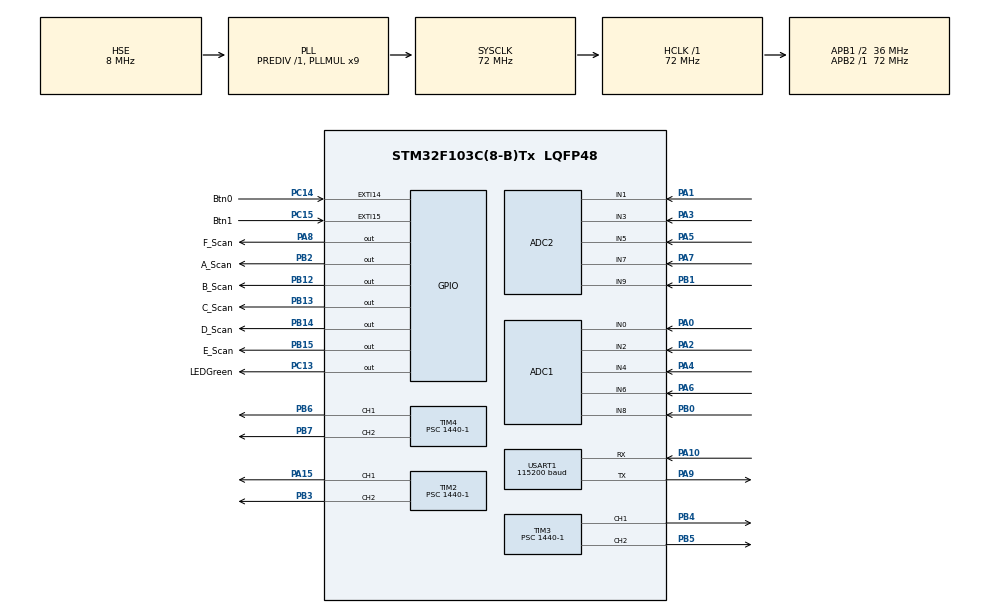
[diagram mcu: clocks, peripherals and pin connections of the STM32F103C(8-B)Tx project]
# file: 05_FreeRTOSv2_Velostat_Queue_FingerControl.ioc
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Mcu.Family=STM32F1
Dma.USART1_TX.2.Direction=DMA_MEMORY_TO_PERIPH
FREERTOS.Queues01=velostatQueue,3,uint16_t*,0,Dynamic,NULL,NULL;handQueue,3,uint16_t*,0,Dynamic,NULL,NULL
Dma.MEMTOMEM.3.Instance=DMA1_Channel3
NVIC.DMA1_Channel5_IRQn=true\:5\:0\:false\:false\:true\:true\:false\:true
ADC2.SamplingTime-1\#ChannelRegularConversion=ADC_SAMPLETIME_239CYCLES_5
ADC2.Channel-0\#ChannelRegularConversion=ADC_CHANNEL_1
USART1.BaudRate=115200
SH.ADCx_IN2.0=ADC1_IN2,IN2
PB14.GPIO_Label=D_Scan
FREERTOS.Events01=handEvent,Dynamic,NULL;velostatEvent,Dynamic,NULL;stopServoEvent,Dynamic,NULL
Dma.MEMTOMEM.1.PeriphInc=DMA_PINC_ENABLE
FREERTOS.configTICK_RATE_HZ=1000
NVIC.TIM1_UP_IRQn=true\:0\:0\:false\:false\:true\:false\:false\:true
ADC2.SamplingTime-4\#ChannelRegularConversion=ADC_SAMPLETIME_239CYCLES_5
TIM2.Channel-PWM\ Generation2\ CH2=TIM_CHANNEL_2
PB13.GPIO_Label=C_Scan
PB13.Signal=GPIO_Output
PB15.Signal=GPIO_Output
Dma.MEMTOMEM.1.Priority=DMA_PRIORITY_LOW
PC15-OSC32_OUT.GPIO_Label=Btn1
RCC.SYSCLKSource=RCC_SYSCLKSOURCE_PLLCLK
ProjectManager.StackSize=0x400
VP_FREERTOS_VS_CMSIS_V2.Mode=CMSIS_V2
PD1-OSC_OUT.Signal=RCC_OSC_OUT
NVIC.DMA1_Channel3_IRQn=true\:5\:0\:false\:false\:true\:true\:true\:true
Mcu.UserConstants=FlagVelostatADC_ConvCplt,(1u << 0);FlagVelostatDMAChn2_XferCplt,(1u << 1);FlagVelostatUART_TxCplt,(1u << 2);FlagVelostatSortDataNotFull,(1u << 3);FlagVelostatSortDataFull,(1u << 4);NumberOfColums,10u;NumberOfRows,44u;NumberOfConversion,5u;NumberOfADCChannels,10u;NumberOfCells,(NumberOfColums * NumberOfRows);TxBufferSize,(NumberOfCells + 2u);NumberOfScanLimit,44u;FlagHandUART_RxCplt,(1u << 0);FlagHandBot1,(1u << 1);FlagHandTop1,(1u << 2);FlagHandBot2,(1u << 3);FlagHandTop2,(1u << 4);FlagHandBot3,(1u << 5);FlagHandTop3,(1u << 6);FlagVelostatEnqueue,(1u << 6);FlagVelostatDMAChn3_XferCplt,(1u << 5);FlagVelostatEnable,(1u << 7);FlagHandPeakControlEnable,(1u << 7);FlagHandDMAChn6_XferCplt,(1u << 8);FlagHandMatrix,(1u << 9)
ADC1.Channel-3\#ChannelRegularConversion=ADC_CHANNEL_6
ADC1.Mode=ADC_DUALMODE_REGSIMULT
RCC.HCLKFreq_Value=72000000
SH.ADCx_IN3.0=ADC2_IN3,IN3
Dma.USART1_RX.4.MemDataAlignment=DMA_MDATAALIGN_BYTE
RCC.APB2TimFreq_Value=72000000
TIM3.Period=1000-1
PB6.Signal=S_TIM4_CH1
Dma.ADC1.0.Direction=DMA_PERIPH_TO_MEMORY
ADC1.Channel-2\#ChannelRegularConversion=ADC_CHANNEL_4
FREERTOS.configUSE_MALLOC_FAILED_HOOK=1
FREERTOS.configMINIMAL_STACK_SIZE=64
Dma.ADC1.0.MemDataAlignment=DMA_MDATAALIGN_WORD
RCC.AHBFreq_Value=72000000
TIM3.Channel-PWM\ Generation1\ CH1=TIM_CHANNEL_1
NVIC.EXTI15_10_IRQn=true\:5\:0\:false\:false\:true\:true\:true\:true
ADC1.Channel-0\#ChannelRegularConversion=ADC_CHANNEL_0
PB2.Signal=GPIO_Output
RCC.PLLMUL=RCC_PLL_MUL9
Dma.MEMTOMEM.3.Mode=DMA_NORMAL
PB12.GPIO_Label=B_Scan
ADC1.SamplingTime-4\#ChannelRegularConversion=ADC_SAMPLETIME_239CYCLES_5
Dma.USART1_RX.4.Instance=DMA1_Channel5
PC15-OSC32_OUT.GPIO_ModeDefaultEXTI=GPIO_MODE_IT_FALLING
ADC1.Rank-2\#ChannelRegularConversion=3
PA14.Mode=Serial_Wire
VP_SYS_VS_tim1.Mode=TIM1
TIM3.Prescaler=1440-1
Dma.ADC1.0.PeriphInc=DMA_PINC_DISABLE
SH.ADCx_IN8.0=ADC1_IN8,IN8
SH.S_TIM4_CH2.0=TIM4_CH2,PWM Generation2 CH2
Dma.USART1_TX.2.PeriphDataAlignment=DMA_PDATAALIGN_BYTE
PB7.Signal=S_TIM4_CH2
PA8.Signal=GPIO_Output
SH.ADCx_IN0.0=ADC1_IN0,IN0
TIM2.Channel-PWM\ Generation1\ CH1=TIM_CHANNEL_1
SH.S_TIM3_CH1.0=TIM3_CH1,PWM Generation1 CH1
TIM4.Period=1000-1
Dma.USART1_TX.2.MemDataAlignment=DMA_MDATAALIGN_BYTE
ADC1.SamplingTime-0\#ChannelRegularConversion=ADC_SAMPLETIME_239CYCLES_5
FREERTOS.configTOTAL_HEAP_SIZE=14000
Dma.MEMTOMEM.1.MemInc=DMA_MINC_ENABLE
Mcu.Package=LQFP48
TIM2.Prescaler=1440-1
PB1.Signal=ADCx_IN9
PA6.Signal=ADCx_IN6
Dma.MEMTOMEM.1.Instance=DMA1_Channel2
NVIC.TimeBase=TIM1_UP_IRQn
Dma.USART1_RX.4.Direction=DMA_PERIPH_TO_MEMORY
Dma.MEMTOMEM.3.Direction=DMA_MEMORY_TO_MEMORY
ADC2.Channel-1\#ChannelRegularConversion=ADC_CHANNEL_3
NVIC.TimeBaseIP=TIM1
PA10.Signal=USART1_RX
PA15.Signal=S_TIM2_CH1_ETR
ADC2.Rank-4\#ChannelRegularConversion=5
ADC2.SamplingTime-0\#ChannelRegularConversion=ADC_SAMPLETIME_239CYCLES_5
SH.ADCx_IN9.0=ADC2_IN9,IN9
SH.ADCx_IN1.0=ADC2_IN1,IN1
ADC2.SamplingTime-2\#ChannelRegularConversion=ADC_SAMPLETIME_239CYCLES_5
ADC2.NbrOfConversion=5
SH.S_TIM4_CH1.0=TIM4_CH1,PWM Generation1 CH1
Dma.Request2=USART1_TX
Dma.Request1=MEMTOMEM
RCC.APB1TimFreq_Value=72000000
Dma.Request4=USART1_RX
Dma.Request3=MEMTOMEM
ADC2.Rank-2\#ChannelRegularConversion=3
PC14-OSC32_IN.GPIO_Label=Btn0
NVIC.DMA1_Channel4_IRQn=true\:5\:0\:false\:false\:true\:true\:false\:true
ADC2.Rank-0\#ChannelRegularConversion=1
FREERTOS.configMAX_TASK_NAME_LEN=32
NVIC.USART1_IRQn=true\:5\:0\:true\:false\:true\:true\:true\:true
Dma.Request0=ADC1
VP_TIM3_VS_ClockSourceINT.Mode=Internal
ADC1.Rank-4\#ChannelRegularConversion=5
ADC2.Channel-3\#ChannelRegularConversion=ADC_CHANNEL_7
PB4.Signal=S_TIM3_CH1
PA3.Signal=ADCx_IN3
RCC.PLLSourceVirtual=RCC_PLLSOURCE_HSE
TIM4.Channel-PWM\ Generation1\ CH1=TIM_CHANNEL_1
Dma.ADC1.0.Instance=DMA1_Channel1
ADC2.Mode=ADC_DUALMODE_REGSIMULT
FREERTOS.Tasks01=VelostatScanADC,8,128,StartVelostatScanADC,Default,NULL,Dynamic,NULL,NULL;VelostatProcessOutput,8,128,StartVelostatProcessOutput,Default,NULL,Dynamic,NULL,NULL;VelostatTransmit,8,128,StartVelostatTransmit,Default,NULL,Dynamic,NULL,NULL;HandBot1,8,64,StartHandBot1,Default,NULL,Dynamic,NULL,NULL;HandTop1,8,64,StartHandTop1,Default,NULL,Dynamic,NULL,NULL;HandBot2,8,64,StartHandBot2,Default,NULL,Dynamic,NULL,NULL;HandTop2,8,64,StartHandTop2,Default,NULL,Dynamic,NULL,NULL;HandBot3,8,64,StartHandBot3,Default,NULL,Dynamic,NULL,NULL;HandTop3,8,64,StartHandTop3,Default,NULL,Dynamic,NULL,NULL;HandRxHandler,40,128,StartHandRxHandler,Default,NULL,Dynamic,NULL,NULL;HandMatrixHandler,8,128,StartHandMatrixHandler,Default,NULL,Dynamic,NULL,NULL;HandPeakControl,8,128,StartHandPeakControl,Default,NULL,Dynamic,NULL,NULL;ButtonHandler,48,64,StartButtonHandler,Default,NULL,Dynamic,NULL,NULL;HandStopServo,40,64,StartHandStopServo,Default,NULL,Dynamic,NULL,NULL
ADC1.Rank-0\#ChannelRegularConversion=1
PD1-OSC_OUT.Mode=HSE-External-Oscillator
ADC1.Channel-4\#ChannelRegularConversion=ADC_CHANNEL_8
PA10.Mode=Asynchronous
Dma.USART1_TX.2.MemInc=DMA_MINC_ENABLE
TIM3.AutoReloadPreload=TIM_AUTORELOAD_PRELOAD_ENABLE
SH.ADCx_IN6.0=ADC1_IN6,IN6
ADC2.Rank-3\#ChannelRegularConversion=4
PC13-TAMPER-RTC.Signal=GPIO_Output
RCC.USBPrescaler=RCC_USBCLKSOURCE_PLL_DIV1_5
Dma.USART1_RX.4.Priority=DMA_PRIORITY_VERY_HIGH
PD0-OSC_IN.Signal=RCC_OSC_IN
Dma.USART1_RX.4.Mode=DMA_NORMAL
RCC.APB1CLKDivider=RCC_HCLK_DIV2
PC14-OSC32_IN.Signal=GPXTI14
ADC1.SamplingTime-2\#ChannelRegularConversion=ADC_SAMPLETIME_239CYCLES_5
PA0-WKUP.Signal=ADCx_IN0
RCC.ADCPresc=RCC_ADCPCLK2_DIV6
PA13.Signal=SYS_JTMS-SWDIO
SH.S_TIM2_CH2.0=TIM2_CH2,PWM Generation2 CH2
Dma.ADC1.0.PeriphDataAlignment=DMA_PDATAALIGN_WORD
PA9.Mode=Asynchronous
PA8.GPIO_Label=F_Scan
NVIC.DMA1_Channel2_IRQn=true\:5\:0\:false\:false\:true\:true\:true\:true
ProjectManager.TargetToolchain=STM32CubeIDE
SH.ADCx_IN7.0=ADC2_IN7,IN7
Dma.ADC1.0.Mode=DMA_NORMAL
Dma.ADC1.0.Priority=DMA_PRIORITY_LOW
PA9.Signal=USART1_TX
ADC1.Channel-1\#ChannelRegularConversion=ADC_CHANNEL_2
RCC.USBFreq_Value=48000000
TIM4.Prescaler=1440-1
PC15-OSC32_OUT.Signal=GPXTI15
PA1.Signal=ADCx_IN1
PD0-OSC_IN.Mode=HSE-External-Oscillator
PB14.Signal=GPIO_Output
PA5.Signal=ADCx_IN5
Dma.MEMTOMEM.1.Mode=DMA_NORMAL
SH.S_TIM3_CH2.0=TIM3_CH2,PWM Generation2 CH2
Dma.MEMTOMEM.3.PeriphDataAlignment=DMA_PDATAALIGN_HALFWORD
board=custom
PC13-TAMPER-RTC.GPIO_Label=LEDGreen
Dma.MEMTOMEM.1.MemDataAlignment=DMA_MDATAALIGN_HALFWORD
ADC2.Channel-2\#ChannelRegularConversion=ADC_CHANNEL_5
PC14-OSC32_IN.GPIO_ModeDefaultEXTI=GPIO_MODE_IT_FALLING
TIM4.Channel-PWM\ Generation2\ CH2=TIM_CHANNEL_2
RCC.APB2Freq_Value=72000000
Dma.MEMTOMEM.1.PeriphDataAlignment=DMA_PDATAALIGN_HALFWORD
PB15.GPIO_Label=E_Scan
VP_TIM2_VS_ClockSourceINT.Mode=Internal
Dma.MEMTOMEM.3.Priority=DMA_PRIORITY_MEDIUM
Dma.USART1_RX.4.PeriphDataAlignment=DMA_PDATAALIGN_BYTE
Dma.USART1_TX.2.Priority=DMA_PRIORITY_HIGH
SH.ADCx_IN4.0=ADC1_IN4,IN4
Dma.MEMTOMEM.1.Direction=DMA_MEMORY_TO_MEMORY
PC15-OSC32_OUT.GPIO_PuPd=GPIO_NOPULL
ADC2.SamplingTime-3\#ChannelRegularConversion=ADC_SAMPLETIME_239CYCLES_5
Dma.MEMTOMEM.3.MemDataAlignment=DMA_MDATAALIGN_HALFWORD
TIM2.Period=1000-1
ADC1.NbrOfConversion=5
PA13.Mode=Serial_Wire
Mcu.Name=STM32F103C(8-B)Tx
PA2.Signal=ADCx_IN2
Dma.USART1_TX.2.PeriphInc=DMA_PINC_DISABLE
Dma.MEMTOMEM.3.MemInc=DMA_MINC_ENABLE
PB3.Signal=S_TIM2_CH2
PA4.Signal=ADCx_IN4
ADC1.SamplingTime-1\#ChannelRegularConversion=ADC_SAMPLETIME_239CYCLES_5
RCC.SYSCLKFreq_VALUE=72000000
PB5.Signal=S_TIM3_CH2
ADC1.master=1
ADC1.Rank-3\#ChannelRegularConversion=4
ADC1.SamplingTime-3\#ChannelRegularConversion=ADC_SAMPLETIME_239CYCLES_5
ADC2.NbrOfConversionFlag=1
USART1.VirtualMode=VM_ASYNC
ADC1.Rank-1\#ChannelRegularConversion=2
SH.S_TIM2_CH1_ETR.0=TIM2_CH1,PWM Generation1 CH1
PA14.Signal=SYS_JTCK-SWCLK
Dma.ADC1.0.MemInc=DMA_MINC_ENABLE
Dma.USART1_RX.4.MemInc=DMA_MINC_ENABLE
PB2.GPIO_Label=A_Scan
ProjectManager.HeapSize=0x200
Dma.USART1_TX.2.Mode=DMA_NORMAL
FREERTOS.Timers01=myTimer01,Callback01,osTimerOnce,Default,NULL,Dynamic,NULL
SH.ADCx_IN5.0=ADC2_IN5,IN5
VP_TIM4_VS_ClockSourceINT.Mode=Internal
NVIC.PriorityGroup=NVIC_PRIORITYGROUP_4
ADC1.NbrOfConversionFlag=1
TIM3.Channel-PWM\ Generation2\ CH2=TIM_CHANNEL_2
Dma.USART1_TX.2.Instance=DMA1_Channel4
ADC2.Rank-1\#ChannelRegularConversion=2
TIM2.AutoReloadPreload=TIM_AUTORELOAD_PRELOAD_ENABLE
Dma.MEMTOMEM.3.PeriphInc=DMA_PINC_ENABLE
PC14-OSC32_IN.GPIO_PuPd=GPIO_NOPULL
Dma.USART1_RX.4.PeriphInc=DMA_PINC_DISABLE
NVIC.DMA1_Channel1_IRQn=true\:5\:0\:false\:false\:true\:true\:false\:true
RCC.APB1Freq_Value=36000000
PB0.Signal=ADCx_IN8
ADC2.Channel-4\#ChannelRegularConversion=ADC_CHANNEL_9
PB12.Signal=GPIO_Output
PA7.Signal=ADCx_IN7

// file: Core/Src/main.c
/* USER CODE BEGIN Header */
/**
 ******************************************************************************
 * @file           : main.c
 * @brief          : Main program body
 ******************************************************************************
 * @attention
 *
 * <h2><center>&copy; Copyright (c) 2022 STMicroelectronics.
 * All rights reserved.</center></h2>
 *
 * This software component is licensed by ST under Ultimate Liberty license
 * SLA0044, the "License"; You may not use this file except in compliance with
 * the License. You may obtain a copy of the License at:
 *                             www.st.com/SLA0044
 *
 ******************************************************************************
 */
/* USER CODE END Header */
#include "main.h"
#include "cmsis_os.h"

/* USER CODE BEGIN Includes */
//#include "usbd_cdc_if.h"
#include <string.h>
#include "Scan_74238.h"
#include "Servo.h"
#include "MyArray.h"
/* USER CODE END Includes */

ADC_HandleTypeDef hadc1;
ADC_HandleTypeDef hadc2;
DMA_HandleTypeDef hdma_adc1;

TIM_HandleTypeDef htim2;
TIM_HandleTypeDef htim3;
TIM_HandleTypeDef htim4;

UART_HandleTypeDef huart1;
DMA_HandleTypeDef hdma_usart1_tx;
DMA_HandleTypeDef hdma_usart1_rx;

DMA_HandleTypeDef hdma_memtomem_dma1_channel2;
DMA_HandleTypeDef hdma_memtomem_dma1_channel3;
/* Definitions for VelostatScanADC */
osThreadId_t VelostatScanADCHandle;
const osThreadAttr_t VelostatScanADC_attributes = { .name = "VelostatScanADC",
		.stack_size = 128 * 4, .priority = (osPriority_t) osPriorityLow, };
/* Definitions for VelostatProcessOutput */
osThreadId_t VelostatProcessOutputHandle;
const osThreadAttr_t VelostatProcessOutput_attributes = { .name =
		"VelostatProcessOutput", .stack_size = 128 * 4, .priority =
		(osPriority_t) osPriorityLow, };
/* Definitions for VelostatTransmit */
osThreadId_t VelostatTransmitHandle;
const osThreadAttr_t VelostatTransmit_attributes = { .name = "VelostatTransmit",
		.stack_size = 128 * 4, .priority = (osPriority_t) osPriorityLow, };
/* Definitions for HandBot1 */
osThreadId_t HandBot1Handle;
const osThreadAttr_t HandBot1_attributes = { .name = "HandBot1", .stack_size =
		64 * 4, .priority = (osPriority_t) osPriorityLow, };
/* Definitions for HandTop1 */
osThreadId_t HandTop1Handle;
const osThreadAttr_t HandTop1_attributes = { .name = "HandTop1", .stack_size =
		64 * 4, .priority = (osPriority_t) osPriorityLow, };
/* Definitions for HandBot2 */
osThreadId_t HandBot2Handle;
const osThreadAttr_t HandBot2_attributes = { .name = "HandBot2", .stack_size =
		64 * 4, .priority = (osPriority_t) osPriorityLow, };
/* Definitions for HandTop2 */
osThreadId_t HandTop2Handle;
const osThreadAttr_t HandTop2_attributes = { .name = "HandTop2", .stack_size =
		64 * 4, .priority = (osPriority_t) osPriorityLow, };
/* Definitions for HandBot3 */
osThreadId_t HandBot3Handle;
const osThreadAttr_t HandBot3_attributes = { .name = "HandBot3", .stack_size =
		64 * 4, .priority = (osPriority_t) osPriorityLow, };
/* Definitions for HandTop3 */
osThreadId_t HandTop3Handle;
const osThreadAttr_t HandTop3_attributes = { .name = "HandTop3", .stack_size =
		64 * 4, .priority = (osPriority_t) osPriorityLow, };
/* Definitions for HandRxHandler */
osThreadId_t HandRxHandlerHandle;
const osThreadAttr_t HandRxHandler_attributes = { .name = "HandRxHandler",
		.stack_size = 128 * 4, .priority = (osPriority_t) osPriorityHigh, };
/* Definitions for HandMatrixHandler */
osThreadId_t HandMatrixHandlerHandle;
const osThreadAttr_t HandMatrixHandler_attributes = { .name =
		"HandMatrixHandler", .stack_size = 128 * 4, .priority =
		(osPriority_t) osPriorityLow, };
/* Definitions for HandPeakControl */
osThreadId_t HandPeakControlHandle;
const osThreadAttr_t HandPeakControl_attributes = { .name = "HandPeakControl",
		.stack_size = 128 * 4, .priority = (osPriority_t) osPriorityLow, };
/* Definitions for ButtonHandler */
osThreadId_t ButtonHandlerHandle;
const osThreadAttr_t ButtonHandler_attributes = { .name = "ButtonHandler",
		.stack_size = 64 * 4, .priority = (osPriority_t) osPriorityRealtime, };
/* Definitions for HandStopServo */
osThreadId_t HandStopServoHandle;
const osThreadAttr_t HandStopServo_attributes = { .name = "HandStopServo",
		.stack_size = 64 * 4, .priority = (osPriority_t) osPriorityHigh, };
/* Definitions for velostatQueue */
osMessageQueueId_t velostatQueueHandle;
const osMessageQueueAttr_t velostatQueue_attributes =
		{ .name = "velostatQueue" };
/* Definitions for handQueue */
osMessageQueueId_t handQueueHandle;
const osMessageQueueAttr_t handQueue_attributes = { .name = "handQueue" };
/* Definitions for myTimer01 */
osTimerId_t myTimer01Handle;
const osTimerAttr_t myTimer01_attributes = { .name = "myTimer01" };
/* Definitions for handEvent */
osEventFlagsId_t handEventHandle;
const osEventFlagsAttr_t handEvent_attributes = { .name = "handEvent" };
/* Definitions for velostatEvent */
osEventFlagsId_t velostatEventHandle;
const osEventFlagsAttr_t velostatEvent_attributes = { .name = "velostatEvent" };
/* Definitions for stopServoEvent */
osEventFlagsId_t stopServoEventHandle;
const osEventFlagsAttr_t stopServoEvent_attributes =
		{ .name = "stopServoEvent" };
/* USER CODE BEGIN PV */
uint32_t *ptrCellsBuffer;
uint16_t *ptrTxBuffer;
uint16_t scanRowth;
volatile uint16_t isRun;
//servo
Servo *bot1, *top1, *bot2, *top2, *bot3, *top3;
uint8_t *rxData;
volatile uint16_t first;
volatile uint32_t countRun = 0u;
volatile uint32_t flagOnce = 1u;
volatile uint16_t peakControlMode;
volatile uint16_t flagTimer;
volatile uint32_t flag = 0u;
MyArray *matrix, *botArray, *topArray, *palmArray;
MyArray *bot1Array, *bot2Array, *bot3Array;
MyArray *top1Array, *top2Array, *top3Array;
volatile uint16_t threshHoldValue;
volatile uint16_t sumThreshHold;
uint16_t timeDelay;
volatile uint16_t maxBot, maxTop, maxPalm;
volatile uint16_t maxBot1, maxBot2, maxBot3;
volatile uint16_t maxTop1, maxTop2, maxTop3;
volatile uint8_t flag12, flag13, flag123;
volatile uint16_t sumBot, sumTop, countSum;
uint16_t threshHold[20] = { 0, 100, 200, 300, 400, 500, 600, 700, 800, 900,
		1000, 1100, 1200, 1300, 1400, 1500, 1600, 1700, 1800, 1900 };
//button
volatile uint16_t isPress;
volatile uint16_t btn;
//debug
volatile uint32_t start, end, startScan, endScan, startTx, endTx;
/* USER CODE END PV */

void SystemClock_Config(void);
static void MX_GPIO_Init(void);
static void MX_DMA_Init(void);
static void MX_ADC1_Init(void);
static void MX_USART1_UART_Init(void);
static void MX_TIM2_Init(void);
static void MX_TIM3_Init(void);
static void MX_TIM4_Init(void);
static void MX_ADC2_Init(void);
void StartVelostatScanADC(void *argument);
void StartVelostatProcessOutput(void *argument);
void StartVelostatTransmit(void *argument);
void StartHandBot1(void *argument);
void StartHandTop1(void *argument);
void StartHandBot2(void *argument);
void StartHandTop2(void *argument);
void StartHandBot3(void *argument);
void StartHandTop3(void *argument);
void StartHandRxHandler(void *argument);
void StartHandMatrixHandler(void *argument);
void StartHandPeakControl(void *argument);
void StartButtonHandler(void *argument);
void StartHandStopServo(void *argument);
void Callback01(void *argument);

/* USER CODE BEGIN PFP */
void HAL_ADC_ConvCpltCallback(ADC_HandleTypeDef *hadc);
void User_DMA_XferCpltCallback(DMA_HandleTypeDef *hdma);
void HAL_UART_RxCpltCallback(UART_HandleTypeDef *huart);
void HAL_UART_TxCpltCallback(UART_HandleTypeDef *huart);
void HAL_GPIO_EXTI_Callback(uint16_t GPIO_Pin);
void vApplicationMallocFailedHook(void);
/* USER CODE END PFP */

int main(void) {

	/* MCU Configuration--------------------------------------------------------*/

	/* Reset of all peripherals, Initializes the Flash interface and the Systick. */
	HAL_Init();

	/* USER CODE BEGIN Init */
	scanRowth = 0u;
	first = 1u;
	peakControlMode = 0u;
	flagTimer = 1u;
	timeDelay = 200u;
	//button
	isPress = 0u;
	/* USER CODE END Init */

	/* Configure the system clock */
	SystemClock_Config();

	/* Initialize all configured peripherals */
	MX_GPIO_Init();
	MX_DMA_Init();
	MX_ADC1_Init();
	MX_USART1_UART_Init();
	MX_TIM2_Init();
	MX_TIM3_Init();
	MX_TIM4_Init();
	MX_ADC2_Init();

	/* Init scheduler */
	osKernelInitialize();

	/* Create the timer(s) */
	/* creation of myTimer01 */
	myTimer01Handle = osTimerNew(Callback01, osTimerOnce, NULL,
			&myTimer01_attributes);

	/* Create the queue(s) */
	/* creation of velostatQueue */
	velostatQueueHandle = osMessageQueueNew(3, sizeof(uint16_t*),
			&velostatQueue_attributes);

	/* creation of handQueue */
	handQueueHandle = osMessageQueueNew(3, sizeof(uint16_t*),
			&handQueue_attributes);

	/* Create the thread(s) */
	/* creation of VelostatScanADC */
	VelostatScanADCHandle = osThreadNew(StartVelostatScanADC, NULL,
			&VelostatScanADC_attributes);

	/* creation of VelostatProcessOutput */
	VelostatProcessOutputHandle = osThreadNew(StartVelostatProcessOutput, NULL,
			&VelostatProcessOutput_attributes);

	/* creation of VelostatTransmit */
	VelostatTransmitHandle = osThreadNew(StartVelostatTransmit, NULL,
			&VelostatTransmit_attributes);

	/* creation of HandBot1 */
	HandBot1Handle = osThreadNew(StartHandBot1, NULL, &HandBot1_attributes);

	/* creation of HandTop1 */
	HandTop1Handle = osThreadNew(StartHandTop1, NULL, &HandTop1_attributes);

	/* creation of HandBot2 */
	HandBot2Handle = osThreadNew(StartHandBot2, NULL, &HandBot2_attributes);

	/* creation of HandTop2 */
	HandTop2Handle = osThreadNew(StartHandTop2, NULL, &HandTop2_attributes);

	/* creation of HandBot3 */
	HandBot3Handle = osThreadNew(StartHandBot3, NULL, &HandBot3_attributes);

	/* creation of HandTop3 */
	HandTop3Handle = osThreadNew(StartHandTop3, NULL, &HandTop3_attributes);

	/* creation of HandRxHandler */
	HandRxHandlerHandle = osThreadNew(StartHandRxHandler, NULL,
			&HandRxHandler_attributes);

	/* creation of HandMatrixHandler */
	HandMatrixHandlerHandle = osThreadNew(StartHandMatrixHandler, NULL,
			&HandMatrixHandler_attributes);

	/* creation of HandPeakControl */
	HandPeakControlHandle = osThreadNew(StartHandPeakControl, NULL,
			&HandPeakControl_attributes);

	/* creation of ButtonHandler */
	ButtonHandlerHandle = osThreadNew(StartButtonHandler, NULL,
			&ButtonHandler_attributes);

	/* creation of HandStopServo */
	HandStopServoHandle = osThreadNew(StartHandStopServo, NULL,
			&HandStopServo_attributes);

	/* Create the event(s) */
	/* creation of handEvent */
	handEventHandle = osEventFlagsNew(&handEvent_attributes);

	/* creation of velostatEvent */
	velostatEventHandle = osEventFlagsNew(&velostatEvent_attributes);

	/* creation of stopServoEvent */
	stopServoEventHandle = osEventFlagsNew(&stopServoEvent_attributes);

	/* Start scheduler */
	osKernelStart();

	/* We should never get here as control is now taken by the scheduler */
	/* Infinite loop */
	while (1) {

	}
}

void SystemClock_Config(void) {
	RCC_OscInitTypeDef RCC_OscInitStruct = { 0 };
	RCC_ClkInitTypeDef RCC_ClkInitStruct = { 0 };
	RCC_PeriphCLKInitTypeDef PeriphClkInit = { 0 };

	/** Initializes the RCC Oscillators according to the specified parameters
	 * in the RCC_OscInitTypeDef structure.
	 */
	RCC_OscInitStruct.OscillatorType = RCC_OSCILLATORTYPE_HSE;
	RCC_OscInitStruct.HSEState = RCC_HSE_ON;
	RCC_OscInitStruct.HSEPredivValue = RCC_HSE_PREDIV_DIV1;
	RCC_OscInitStruct.HSIState = RCC_HSI_ON;
	RCC_OscInitStruct.PLL.PLLState = RCC_PLL_ON;
	RCC_OscInitStruct.PLL.PLLSource = RCC_PLLSOURCE_HSE;
	RCC_OscInitStruct.PLL.PLLMUL = RCC_PLL_MUL9;
	if (HAL_RCC_OscConfig(&RCC_OscInitStruct) != HAL_OK) {
		Error_Handler();
	}
	/** Initializes the CPU, AHB and APB buses clocks
	 */
	RCC_ClkInitStruct.ClockType = RCC_CLOCKTYPE_HCLK | RCC_CLOCKTYPE_SYSCLK
			| RCC_CLOCKTYPE_PCLK1 | RCC_CLOCKTYPE_PCLK2;
	RCC_ClkInitStruct.SYSCLKSource = RCC_SYSCLKSOURCE_PLLCLK;
	RCC_ClkInitStruct.AHBCLKDivider = RCC_SYSCLK_DIV1;
	RCC_ClkInitStruct.APB1CLKDivider = RCC_HCLK_DIV2;
	RCC_ClkInitStruct.APB2CLKDivider = RCC_HCLK_DIV1;

	if (HAL_RCC_ClockConfig(&RCC_ClkInitStruct, FLASH_LATENCY_2) != HAL_OK) {
		Error_Handler();
	}
	PeriphClkInit.PeriphClockSelection = RCC_PERIPHCLK_ADC;
	PeriphClkInit.AdcClockSelection = RCC_ADCPCLK2_DIV6;
	if (HAL_RCCEx_PeriphCLKConfig(&PeriphClkInit) != HAL_OK) {
		Error_Handler();
	}
}

static void MX_ADC1_Init(void) {

	ADC_MultiModeTypeDef multimode = { 0 };
	ADC_ChannelConfTypeDef sConfig = { 0 };

	/** Common config
	 */
	hadc1.Instance = ADC1;
	hadc1.Init.ScanConvMode = ADC_SCAN_ENABLE;
	hadc1.Init.ContinuousConvMode = DISABLE;
	hadc1.Init.DiscontinuousConvMode = DISABLE;
	hadc1.Init.ExternalTrigConv = ADC_SOFTWARE_START;
	hadc1.Init.DataAlign = ADC_DATAALIGN_RIGHT;
	hadc1.Init.NbrOfConversion = 5;
	if (HAL_ADC_Init(&hadc1) != HAL_OK) {
		Error_Handler();
	}
	/** Configure the ADC multi-mode
	 */
	multimode.Mode = ADC_DUALMODE_REGSIMULT;
	if (HAL_ADCEx_MultiModeConfigChannel(&hadc1, &multimode) != HAL_OK) {
		Error_Handler();
	}
	/** Configure Regular Channel
	 */
	sConfig.Channel = ADC_CHANNEL_0;
	sConfig.Rank = ADC_REGULAR_RANK_1;
	sConfig.SamplingTime = ADC_SAMPLETIME_239CYCLES_5;
	if (HAL_ADC_ConfigChannel(&hadc1, &sConfig) != HAL_OK) {
		Error_Handler();
	}
	/** Configure Regular Channel
	 */
	sConfig.Channel = ADC_CHANNEL_2;
	sConfig.Rank = ADC_REGULAR_RANK_2;
	if (HAL_ADC_ConfigChannel(&hadc1, &sConfig) != HAL_OK) {
		Error_Handler();
	}
	/** Configure Regular Channel
	 */
	sConfig.Channel = ADC_CHANNEL_4;
	sConfig.Rank = ADC_REGULAR_RANK_3;
	if (HAL_ADC_ConfigChannel(&hadc1, &sConfig) != HAL_OK) {
		Error_Handler();
	}
	/** Configure Regular Channel
	 */
	sConfig.Channel = ADC_CHANNEL_6;
	sConfig.Rank = ADC_REGULAR_RANK_4;
	if (HAL_ADC_ConfigChannel(&hadc1, &sConfig) != HAL_OK) {
		Error_Handler();
	}
	/** Configure Regular Channel
	 */
	sConfig.Channel = ADC_CHANNEL_8;
	sConfig.Rank = ADC_REGULAR_RANK_5;
	if (HAL_ADC_ConfigChannel(&hadc1, &sConfig) != HAL_OK) {
		Error_Handler();
	}

}

static void MX_ADC2_Init(void) {

	ADC_ChannelConfTypeDef sConfig = { 0 };

	/** Common config
	 */
	hadc2.Instance = ADC2;
	hadc2.Init.ScanConvMode = ADC_SCAN_ENABLE;
	hadc2.Init.ContinuousConvMode = DISABLE;
	hadc2.Init.DiscontinuousConvMode = DISABLE;
	hadc2.Init.ExternalTrigConv = ADC_SOFTWARE_START;
	hadc2.Init.DataAlign = ADC_DATAALIGN_RIGHT;
	hadc2.Init.NbrOfConversion = 5;
	if (HAL_ADC_Init(&hadc2) != HAL_OK) {
		Error_Handler();
	}
	/** Configure Regular Channel
	 */
	sConfig.Channel = ADC_CHANNEL_1;
	sConfig.Rank = ADC_REGULAR_RANK_1;
	sConfig.SamplingTime = ADC_SAMPLETIME_239CYCLES_5;
	if (HAL_ADC_ConfigChannel(&hadc2, &sConfig) != HAL_OK) {
		Error_Handler();
	}
	/** Configure Regular Channel
	 */
	sConfig.Channel = ADC_CHANNEL_3;
	sConfig.Rank = ADC_REGULAR_RANK_2;
	if (HAL_ADC_ConfigChannel(&hadc2, &sConfig) != HAL_OK) {
		Error_Handler();
	}
	/** Configure Regular Channel
	 */
	sConfig.Channel = ADC_CHANNEL_5;
	sConfig.Rank = ADC_REGULAR_RANK_3;
	if (HAL_ADC_ConfigChannel(&hadc2, &sConfig) != HAL_OK) {
		Error_Handler();
	}
	/** Configure Regular Channel
	 */
	sConfig.Channel = ADC_CHANNEL_7;
	sConfig.Rank = ADC_REGULAR_RANK_4;
	if (HAL_ADC_ConfigChannel(&hadc2, &sConfig) != HAL_OK) {
		Error_Handler();
	}
	/** Configure Regular Channel
	 */
	sConfig.Channel = ADC_CHANNEL_9;
	sConfig.Rank = ADC_REGULAR_RANK_5;
	if (HAL_ADC_ConfigChannel(&hadc2, &sConfig) != HAL_OK) {
		Error_Handler();
	}

}

static void MX_TIM2_Init(void) {

	TIM_ClockConfigTypeDef sClockSourceConfig = { 0 };
	TIM_MasterConfigTypeDef sMasterConfig = { 0 };
	TIM_OC_InitTypeDef sConfigOC = { 0 };

	htim2.Instance = TIM2;
	htim2.Init.Prescaler = 1440 - 1;
	htim2.Init.CounterMode = TIM_COUNTERMODE_UP;
	htim2.Init.Period = 1000 - 1;
	htim2.Init.ClockDivision = TIM_CLOCKDIVISION_DIV1;
	htim2.Init.AutoReloadPreload = TIM_AUTORELOAD_PRELOAD_ENABLE;
	if (HAL_TIM_Base_Init(&htim2) != HAL_OK) {
		Error_Handler();
	}
	sClockSourceConfig.ClockSource = TIM_CLOCKSOURCE_INTERNAL;
	if (HAL_TIM_ConfigClockSource(&htim2, &sClockSourceConfig) != HAL_OK) {
		Error_Handler();
	}
	if (HAL_TIM_PWM_Init(&htim2) != HAL_OK) {
		Error_Handler();
	}
	sMasterConfig.MasterOutputTrigger = TIM_TRGO_RESET;
	sMasterConfig.MasterSlaveMode = TIM_MASTERSLAVEMODE_DISABLE;
	if (HAL_TIMEx_MasterConfigSynchronization(&htim2, &sMasterConfig)
			!= HAL_OK) {
		Error_Handler();
	}
	sConfigOC.OCMode = TIM_OCMODE_PWM1;
	sConfigOC.Pulse = 0;
	sConfigOC.OCPolarity = TIM_OCPOLARITY_HIGH;
	sConfigOC.OCFastMode = TIM_OCFAST_DISABLE;
	if (HAL_TIM_PWM_ConfigChannel(&htim2, &sConfigOC, TIM_CHANNEL_1)
			!= HAL_OK) {
		Error_Handler();
	}
	if (HAL_TIM_PWM_ConfigChannel(&htim2, &sConfigOC, TIM_CHANNEL_2)
			!= HAL_OK) {
		Error_Handler();
	}
	HAL_TIM_MspPostInit(&htim2);

}

static void MX_TIM3_Init(void) {

	TIM_ClockConfigTypeDef sClockSourceConfig = { 0 };
	TIM_MasterConfigTypeDef sMasterConfig = { 0 };
	TIM_OC_InitTypeDef sConfigOC = { 0 };

	htim3.Instance = TIM3;
	htim3.Init.Prescaler = 1440 - 1;
	htim3.Init.CounterMode = TIM_COUNTERMODE_UP;
	htim3.Init.Period = 1000 - 1;
	htim3.Init.ClockDivision = TIM_CLOCKDIVISION_DIV1;
	htim3.Init.AutoReloadPreload = TIM_AUTORELOAD_PRELOAD_ENABLE;
	if (HAL_TIM_Base_Init(&htim3) != HAL_OK) {
		Error_Handler();
	}
	sClockSourceConfig.ClockSource = TIM_CLOCKSOURCE_INTERNAL;
	if (HAL_TIM_ConfigClockSource(&htim3, &sClockSourceConfig) != HAL_OK) {
		Error_Handler();
	}
	if (HAL_TIM_PWM_Init(&htim3) != HAL_OK) {
		Error_Handler();
	}
	sMasterConfig.MasterOutputTrigger = TIM_TRGO_RESET;
	sMasterConfig.MasterSlaveMode = TIM_MASTERSLAVEMODE_DISABLE;
	if (HAL_TIMEx_MasterConfigSynchronization(&htim3, &sMasterConfig)
			!= HAL_OK) {
		Error_Handler();
	}
	sConfigOC.OCMode = TIM_OCMODE_PWM1;
	sConfigOC.Pulse = 0;
	sConfigOC.OCPolarity = TIM_OCPOLARITY_HIGH;
	sConfigOC.OCFastMode = TIM_OCFAST_DISABLE;
	if (HAL_TIM_PWM_ConfigChannel(&htim3, &sConfigOC, TIM_CHANNEL_1)
			!= HAL_OK) {
		Error_Handler();
	}
	if (HAL_TIM_PWM_ConfigChannel(&htim3, &sConfigOC, TIM_CHANNEL_2)
			!= HAL_OK) {
		Error_Handler();
	}
	HAL_TIM_MspPostInit(&htim3);

}

static void MX_TIM4_Init(void) {

	TIM_ClockConfigTypeDef sClockSourceConfig = { 0 };
	TIM_MasterConfigTypeDef sMasterConfig = { 0 };
	TIM_OC_InitTypeDef sConfigOC = { 0 };

	htim4.Instance = TIM4;
	htim4.Init.Prescaler = 1440 - 1;
	htim4.Init.CounterMode = TIM_COUNTERMODE_UP;
	htim4.Init.Period = 1000 - 1;
	htim4.Init.ClockDivision = TIM_CLOCKDIVISION_DIV1;
	htim4.Init.AutoReloadPreload = TIM_AUTORELOAD_PRELOAD_DISABLE;
	if (HAL_TIM_Base_Init(&htim4) != HAL_OK) {
		Error_Handler();
	}
	sClockSourceConfig.ClockSource = TIM_CLOCKSOURCE_INTERNAL;
	if (HAL_TIM_ConfigClockSource(&htim4, &sClockSourceConfig) != HAL_OK) {
		Error_Handler();
	}
	if (HAL_TIM_PWM_Init(&htim4) != HAL_OK) {
		Error_Handler();
	}
	sMasterConfig.MasterOutputTrigger = TIM_TRGO_RESET;
	sMasterConfig.MasterSlaveMode = TIM_MASTERSLAVEMODE_DISABLE;
	if (HAL_TIMEx_MasterConfigSynchronization(&htim4, &sMasterConfig)
			!= HAL_OK) {
		Error_Handler();
	}
	sConfigOC.OCMode = TIM_OCMODE_PWM1;
	sConfigOC.Pulse = 0;
	sConfigOC.OCPolarity = TIM_OCPOLARITY_HIGH;
	sConfigOC.OCFastMode = TIM_OCFAST_DISABLE;
	if (HAL_TIM_PWM_ConfigChannel(&htim4, &sConfigOC, TIM_CHANNEL_1)
			!= HAL_OK) {
		Error_Handler();
	}
	if (HAL_TIM_PWM_ConfigChannel(&htim4, &sConfigOC, TIM_CHANNEL_2)
			!= HAL_OK) {
		Error_Handler();
	}
	HAL_TIM_MspPostInit(&htim4);

}

static void MX_USART1_UART_Init(void) {

	huart1.Instance = USART1;
	huart1.Init.BaudRate = 115200;
	huart1.Init.WordLength = UART_WORDLENGTH_8B;
	huart1.Init.StopBits = UART_STOPBITS_1;
	huart1.Init.Parity = UART_PARITY_NONE;
	huart1.Init.Mode = UART_MODE_TX_RX;
	huart1.Init.HwFlowCtl = UART_HWCONTROL_NONE;
	huart1.Init.OverSampling = UART_OVERSAMPLING_16;
	if (HAL_UART_Init(&huart1) != HAL_OK) {
		Error_Handler();
	}

}

static void MX_DMA_Init(void) {

	/* DMA controller clock enable */
	__HAL_RCC_DMA1_CLK_ENABLE();

	/* Configure DMA request hdma_memtomem_dma1_channel2 on DMA1_Channel2 */
	hdma_memtomem_dma1_channel2.Instance = DMA1_Channel2;
	hdma_memtomem_dma1_channel2.Init.Direction = DMA_MEMORY_TO_MEMORY;
	hdma_memtomem_dma1_channel2.Init.PeriphInc = DMA_PINC_ENABLE;
	hdma_memtomem_dma1_channel2.Init.MemInc = DMA_MINC_ENABLE;
	hdma_memtomem_dma1_channel2.Init.PeriphDataAlignment =
	DMA_PDATAALIGN_HALFWORD;
	hdma_memtomem_dma1_channel2.Init.MemDataAlignment = DMA_MDATAALIGN_HALFWORD;
	hdma_memtomem_dma1_channel2.Init.Mode = DMA_NORMAL;
	hdma_memtomem_dma1_channel2.Init.Priority = DMA_PRIORITY_LOW;
	if (HAL_DMA_Init(&hdma_memtomem_dma1_channel2) != HAL_OK) {
		Error_Handler();
	}

	/* Configure DMA request hdma_memtomem_dma1_channel3 on DMA1_Channel3 */
	hdma_memtomem_dma1_channel3.Instance = DMA1_Channel3;
	hdma_memtomem_dma1_channel3.Init.Direction = DMA_MEMORY_TO_MEMORY;
	hdma_memtomem_dma1_channel3.Init.PeriphInc = DMA_PINC_ENABLE;
	hdma_memtomem_dma1_channel3.Init.MemInc = DMA_MINC_ENABLE;
	hdma_memtomem_dma1_channel3.Init.PeriphDataAlignment =
	DMA_PDATAALIGN_HALFWORD;
	hdma_memtomem_dma1_channel3.Init.MemDataAlignment = DMA_MDATAALIGN_HALFWORD;
	hdma_memtomem_dma1_channel3.Init.Mode = DMA_NORMAL;
	hdma_memtomem_dma1_channel3.Init.Priority = DMA_PRIORITY_MEDIUM;
	if (HAL_DMA_Init(&hdma_memtomem_dma1_channel3) != HAL_OK) {
		Error_Handler();
	}

	/* DMA interrupt init */
	/* DMA1_Channel1_IRQn interrupt configuration */
	HAL_NVIC_SetPriority(DMA1_Channel1_IRQn, 5, 0);
	HAL_NVIC_EnableIRQ(DMA1_Channel1_IRQn);
	/* DMA1_Channel2_IRQn interrupt configuration */
	HAL_NVIC_SetPriority(DMA1_Channel2_IRQn, 5, 0);
	HAL_NVIC_EnableIRQ(DMA1_Channel2_IRQn);
	/* DMA1_Channel3_IRQn interrupt configuration */
	HAL_NVIC_SetPriority(DMA1_Channel3_IRQn, 5, 0);
	HAL_NVIC_EnableIRQ(DMA1_Channel3_IRQn);
	/* DMA1_Channel4_IRQn interrupt configuration */
	HAL_NVIC_SetPriority(DMA1_Channel4_IRQn, 5, 0);
	HAL_NVIC_EnableIRQ(DMA1_Channel4_IRQn);
	/* DMA1_Channel5_IRQn interrupt configuration */
	HAL_NVIC_SetPriority(DMA1_Channel5_IRQn, 5, 0);
	HAL_NVIC_EnableIRQ(DMA1_Channel5_IRQn);

}

static void MX_GPIO_Init(void) {
	GPIO_InitTypeDef GPIO_InitStruct = { 0 };

	/* GPIO Ports Clock Enable */
	__HAL_RCC_GPIOC_CLK_ENABLE();
	__HAL_RCC_GPIOD_CLK_ENABLE();
	__HAL_RCC_GPIOA_CLK_ENABLE();
	__HAL_RCC_GPIOB_CLK_ENABLE();

	/*Configure GPIO pin Output Level */
	HAL_GPIO_WritePin(LEDGreen_GPIO_Port, LEDGreen_Pin, GPIO_PIN_RESET);

	/*Configure GPIO pin Output Level */
	HAL_GPIO_WritePin(GPIOB,
	A_Scan_Pin | B_Scan_Pin | C_Scan_Pin | D_Scan_Pin | E_Scan_Pin,
			GPIO_PIN_RESET);

	/*Configure GPIO pin Output Level */
	HAL_GPIO_WritePin(F_Scan_GPIO_Port, F_Scan_Pin, GPIO_PIN_RESET);

	/*Configure GPIO pin : LEDGreen_Pin */
	GPIO_InitStruct.Pin = LEDGreen_Pin;
	GPIO_InitStruct.Mode = GPIO_MODE_OUTPUT_PP;
	GPIO_InitStruct.Pull = GPIO_NOPULL;
	GPIO_InitStruct.Speed = GPIO_SPEED_FREQ_LOW;
	HAL_GPIO_Init(LEDGreen_GPIO_Port, &GPIO_InitStruct);

	/*Configure GPIO pins : Btn0_Pin Btn1_Pin */
	GPIO_InitStruct.Pin = Btn0_Pin | Btn1_Pin;
	GPIO_InitStruct.Mode = GPIO_MODE_IT_FALLING;
	GPIO_InitStruct.Pull = GPIO_NOPULL;
	HAL_GPIO_Init(GPIOC, &GPIO_InitStruct);

	/*Configure GPIO pins : A_Scan_Pin B_Scan_Pin C_Scan_Pin D_Scan_Pin
	 E_Scan_Pin */
	GPIO_InitStruct.Pin = A_Scan_Pin | B_Scan_Pin | C_Scan_Pin | D_Scan_Pin
			| E_Scan_Pin;
	GPIO_InitStruct.Mode = GPIO_MODE_OUTPUT_PP;
	GPIO_InitStruct.Pull = GPIO_NOPULL;
	GPIO_InitStruct.Speed = GPIO_SPEED_FREQ_LOW;
	HAL_GPIO_Init(GPIOB, &GPIO_InitStruct);

	/*Configure GPIO pin : F_Scan_Pin */
	GPIO_InitStruct.Pin = F_Scan_Pin;
	GPIO_InitStruct.Mode = GPIO_MODE_OUTPUT_PP;
	GPIO_InitStruct.Pull = GPIO_NOPULL;
	GPIO_InitStruct.Speed = GPIO_SPEED_FREQ_LOW;
	HAL_GPIO_Init(F_Scan_GPIO_Port, &GPIO_InitStruct);

	/* EXTI interrupt init*/
	HAL_NVIC_SetPriority(EXTI15_10_IRQn, 5, 0);
	HAL_NVIC_EnableIRQ(EXTI15_10_IRQn);

}

/* USER CODE BEGIN 4 */
void HAL_ADC_ConvCpltCallback(ADC_HandleTypeDef *hadc) {
	if (hadc->Instance == ADC1)
		osEventFlagsSet(velostatEventHandle, FlagVelostatADC_ConvCplt);
}

void User_DMA_XferCpltCallback(DMA_HandleTypeDef *hdma) {
	if (hdma->Instance == hdma_memtomem_dma1_channel2.Instance) {
		osEventFlagsSet(velostatEventHandle, FlagVelostatDMAChn2_XferCplt);
	} else if (hdma->Instance == hdma_memtomem_dma1_channel3.Instance) {
		osEventFlagsSet(velostatEventHandle, FlagVelostatDMAChn3_XferCplt);
	}
}

void HAL_UART_TxCpltCallback(UART_HandleTypeDef *huart) {
	if (huart->Instance == USART1) {
//		osEventFlagsSet(velostatEventHandle, FlagVelostatUART_TxCplt);
		endTx = HAL_GetTick() - startTx;
	}
}

void HAL_UART_RxCpltCallback(UART_HandleTypeDef *huart) {
	if (huart->Instance == USART1) {
		osEventFlagsSet(handEventHandle, FlagHandUART_RxCplt);
		HAL_UART_Receive_DMA(huart, rxData, NumberOfRxData);
	}
}

void HAL_GPIO_EXTI_Callback(uint16_t GPIO_Pin) {
	if (flagTimer) {
		flagTimer = 0u;
		btn = GPIO_Pin;
		isPress = 1u;
		osThreadFlagsSet(ButtonHandlerHandle, 1u);
	}
}
/* USER CODE END 4 */

void StartVelostatScanADC(void *argument) {
	/* USER CODE BEGIN 5 */
	ptrCellsBuffer = (uint32_t*) pvPortMalloc(
			(NumberOfCells / 2u) * sizeof(uint32_t));
	if (ptrCellsBuffer == NULL)
		Error_Handler();

	HAL_ADCEx_Calibration_Start(&hadc2);
	HAL_ADCEx_Calibration_Start(&hadc1);
	scanRowth = 0u;
	uint32_t *ptr;
	/* Infinite loop */
	for (;;) {
		//enable flags
		osEventFlagsWait(velostatEventHandle, FlagVelostatEnable,
		osFlagsWaitAll | osFlagsNoClear, osWaitForever);
		//
		osEventFlagsWait(velostatEventHandle,
		FlagVelostatSortDataNotFull | FlagVelostatEnqueue, osFlagsWaitAny,
				100u);

		Scan_74238(scanRowth);

		ptr = ptrCellsBuffer;
		ptr += (scanRowth * NumberOfConversion);

		HAL_ADC_Start(&hadc2);
		HAL_ADCEx_MultiModeStart_DMA(&hadc1, (uint32_t*) ptr,
		NumberOfConversion);
		//
		osEventFlagsWait(velostatEventHandle, FlagVelostatADC_ConvCplt,
		osFlagsWaitAll, osWaitForever);
		if (scanRowth >= (NumberOfScanLimit - 1)) {
			scanRowth -= (NumberOfScanLimit - 1);
			osEventFlagsSet(velostatEventHandle, FlagVelostatSortDataFull);
			endScan = HAL_GetTick() - startScan;
		} else {
			++scanRowth;
			osEventFlagsSet(velostatEventHandle, FlagVelostatSortDataNotFull);
		}
	}
	/* USER CODE END 5 */
}

void StartVelostatProcessOutput(void *argument) {
	/* USER CODE BEGIN StartVelostatProcessOutput */
	osStatus_t stat;
	uint16_t *ptr;
	hdma_memtomem_dma1_channel2.XferCpltCallback = User_DMA_XferCpltCallback;
	/* Infinite loop */
	for (;;) {
		osEventFlagsWait(velostatEventHandle, FlagVelostatSortDataFull,
		osFlagsWaitAll, osWaitForever);

//		volatile uint32_t heapSize = xPortGetFreeHeapSize();

		ptr = (uint16_t*) pvPortMalloc(NumberOfCells * sizeof(uint16_t));
		if (ptr == NULL)
			Error_Handler();

		HAL_DMA_Start_IT(&hdma_memtomem_dma1_channel2,
				(uint32_t) ptrCellsBuffer, (uint32_t) ptr,
				NumberOfCells);
		//
		osEventFlagsWait(velostatEventHandle, FlagVelostatDMAChn2_XferCplt,
		osFlagsWaitAll, osWaitForever);

		//bot3 row 4, col 8 and col 9
		ptr[85u] = ptr[86u];
		ptr[95u] = ptr[105u];

		//queue put timeout before FlagVelostatSortDataFull
		stat = osMessageQueuePut(velostatQueueHandle, &ptr, 0, 35u);
		if (stat == osErrorTimeout) {
			vPortFree(ptr);
		} else if (stat == osOK) {
			osEventFlagsSet(velostatEventHandle, FlagVelostatEnqueue);
			startScan = HAL_GetTick();
		}
	}
	/* USER CODE END StartVelostatProcessOutput */
}

void StartVelostatTransmit(void *argument) {
	/* USER CODE BEGIN StartVelostatTransmit */
	uint16_t *buffer = (uint16_t*) pvPortMalloc(
	TxBufferSize * sizeof(uint16_t));
	if (buffer == NULL)
		Error_Handler();

	buffer[0] = 0xaaaa;
	buffer[TxBufferSize - 1] = 0x5555;

	uint16_t *buf;
	osStatus_t stat;
	hdma_memtomem_dma1_channel3.XferCpltCallback = User_DMA_XferCpltCallback;
	/* Infinite loop */
	for (;;) {
		stat = osMessageQueueGet(velostatQueueHandle, &buf, NULL,
		osWaitForever);
		if (stat == osOK) {
			startTx = HAL_GetTick();
			HAL_DMA_Start_IT(&hdma_memtomem_dma1_channel3, (uint32_t) buf,
					(uint32_t) (buffer + 1), NumberOfCells);
			//
			osEventFlagsWait(velostatEventHandle, FlagVelostatDMAChn3_XferCplt,
			osFlagsWaitAll, osWaitForever);

			//pass buf to handQueueHandle
			if (osMessageQueuePut(handQueueHandle, &buf, 0, 50u) != osOK)
				vPortFree(buf);

			//transmit here
			HAL_UART_Transmit_DMA(&huart1, (uint8_t*) buffer,
			TxBufferSize * 2);
		}
	}
	/* USER CODE END StartVelostatTransmit */
}

void StartHandBot1(void *argument) {
	/* USER CODE BEGIN StartHandBot1 */
	bot1 = (Servo*) pvPortMalloc(sizeof(Servo));
	if (bot1 == NULL)
		Error_Handler();
	vServoInit(bot1, &htim2, TIM_CHANNEL_1, handEventHandle, FlagHandBot1);

	bot1->downLimit = 41u;
	bot1->upLimit = 66u;
	bot1->isReverse = 0u;

	vServoStart(bot1);
	/* Infinite loop */
	for (;;) {
		eServoMove(bot1);
//		if (!peakControlMode) {
//			osDelay(bot1->delay);
//		} else {
//			osDelay(bot1->delay * 4u);
////			osDelay(1u);
//		}
//		osDelay(bot1->delay);
	}
	/* USER CODE END StartHandBot1 */
}

void StartHandTop1(void *argument) {
	/* USER CODE BEGIN StartHandTop1 */
	top1 = (Servo*) pvPortMalloc(sizeof(Servo));
	if (top1 == NULL)
		Error_Handler();
	vServoInit(top1, &htim2, TIM_CHANNEL_2, handEventHandle, FlagHandTop1);

	top1->downLimit = 28u;
	top1->upLimit = 84u;
	top1->isReverse = 1u;

	vServoStart(top1);
	/* Infinite loop */
	for (;;) {
		eServoMove(top1);
//		if (!peakControlMode) {
//			osDelay(top1->delay);
//		} else {
//			osDelay(top1->delay * 4u);
//		}
//		osDelay(top1->delay);
	}
	/* USER CODE END StartHandTop1 */
}

void StartHandBot2(void *argument) {
	/* USER CODE BEGIN StartHandBot2 */
	bot2 = (Servo*) pvPortMalloc(sizeof(Servo));
	if (bot2 == NULL)
		Error_Handler();
	vServoInit(bot2, &htim3, TIM_CHANNEL_1, handEventHandle, FlagHandBot2);

	bot2->downLimit = 45u;
	bot2->upLimit = 78u;
	bot2->isReverse = 0u;

	vServoStart(bot2);
	/* Infinite loop */
	for (;;) {
		eServoMove(bot2);
//		if (!peakControlMode) {
//			osDelay(bot2->delay);
//		} else {
//			osDelay(bot2->delay * 4u);
//		}
//		osDelay(bot2->delay);
	}
	/* USER CODE END StartHandBot2 */
}

void StartHandTop2(void *argument) {
	/* USER CODE BEGIN StartHandTop2 */
	top2 = (Servo*) pvPortMalloc(sizeof(Servo));
	if (top2 == NULL)
		Error_Handler();
	vServoInit(top2, &htim3, TIM_CHANNEL_2, handEventHandle, FlagHandTop2);

	top2->downLimit = 34u;
	top2->upLimit = 89u;
	top2->isReverse = 0u;

	vServoStart(top2);
	/* Infinite loop */
	for (;;) {
		eServoMove(top2);
//		if (!peakControlMode) {
//			osDelay(top2->delay);
//		} else {
//			osDelay(top2->delay * 4u);
//		}
//		osDelay(top2->delay);
	}
	/* USER CODE END StartHandTop2 */
}

void StartHandBot3(void *argument) {
	/* USER CODE BEGIN StartHandBot3 */
	bot3 = (Servo*) pvPortMalloc(sizeof(Servo));
	if (bot3 == NULL)
		Error_Handler();
	vServoInit(bot3, &htim4, TIM_CHANNEL_1, handEventHandle, FlagHandBot3);

	bot3->downLimit = 48u;
	bot3->upLimit = 75u;
	bot3->isReverse = 1u;

	vServoStart(bot3);
	/* Infinite loop */
	for (;;) {
		eServoMove(bot3);
//		if (!peakControlMode) {
//			osDelay(bot3->delay);
//		} else {
//			osDelay(bot3->delay * 4u);
//		}
//		osDelay(bot3->delay);
	}
	/* USER CODE END StartHandBot3 */
}

void StartHandTop3(void *argument) {
	/* USER CODE BEGIN StartHandTop3 */
	top3 = (Servo*) pvPortMalloc(sizeof(Servo));
	if (top3 == NULL)
		Error_Handler();
	vServoInit(top3, &htim4, TIM_CHANNEL_2, handEventHandle, FlagHandTop3);

	top3->downLimit = 45u;
	top3->upLimit = 108u;
	top3->isReverse = 1u;

	vServoStart(top3);
	/* Infinite loop */
	for (;;) {
		eServoMove(top3);
//		if (!peakControlMode) {
//			osDelay(top3->delay);
//		} else {
//			osDelay(top3->delay * 4u);
//		}
//		osDelay(top3->delay);
	}
	/* USER CODE END StartHandTop3 */
}

void StartHandRxHandler(void *argument) {
	/* USER CODE BEGIN StartHandRxHandler */
	rxData = (uint8_t*) pvPortMalloc(NumberOfRxData * sizeof(uint8_t));
	if (rxData == NULL)
		Error_Handler();

	uint8_t *buffer = (uint8_t*) pvPortMalloc(NumberOfRxData * sizeof(uint8_t));
	if (buffer == NULL)
		Error_Handler();

	HAL_UART_Receive_DMA(&huart1, rxData, NumberOfRxData);
	/* Infinite loop */
	for (;;) {
		osEventFlagsWait(handEventHandle, FlagHandUART_RxCplt, osFlagsWaitAll,
		osWaitForever);

		memcpy(buffer, rxData, NumberOfRxData);

		//command
		if ((buffer[0] == Head) && (buffer[NumberOfRxData - 1] == Tail)) {
			countRun = 0u;
			if ((osEventFlagsGet(handEventHandle) & FlagHandPeakControlEnable)
					!= FlagHandPeakControlEnable) {
				vServoUpdateCommand(bot1, buffer, 1);
				vServoUpdateCommand(bot2, buffer, 7);
				vServoUpdateCommand(bot3, buffer, 13);

				vServoUpdateCommand(top3, buffer, 16);
				vServoUpdateCommand(top2, buffer, 10);
				vServoUpdateCommand(top1, buffer, 4);
			}

			servoLevel = buffer[19];
		}
		//setup
		else if ((buffer[0] == Tail) && (buffer[NumberOfRxData - 1] == Head)) {
			vServoUpdateSetup(bot1, buffer, 1);
			vServoUpdateSetup(bot2, buffer, 7);
			vServoUpdateSetup(bot3, buffer, 13);

			vServoUpdateSetup(top1, buffer, 4);
			vServoUpdateSetup(top2, buffer, 10);
			vServoUpdateSetup(top3, buffer, 16);

			servoLevel = buffer[19];
		}
	}
	/* USER CODE END StartHandRxHandler */
}

void StartHandMatrixHandler(void *argument) {
	/* USER CODE BEGIN StartHandMatrixHandler */
	matrix = (MyArray*) xMyArrayCreate(440u, 10u, 44u);
	if (matrix == NULL)
		Error_Handler();

	uint16_t *buf;
	osStatus_t stat;
	/* Infinite loop */
	for (;;) {
		stat = osMessageQueueGet(handQueueHandle, &buf, NULL, osWaitForever);
		if (stat == osOK) {

			for (uint16_t i = 0u; i < NumberOfCells; i++)
				matrix->data[i] = buf[i];

			vPortFree(buf);

			osEventFlagsSet(handEventHandle, FlagHandMatrix);
		}
	}
	/* USER CODE END StartHandMatrixHandler */
}

void StartHandPeakControl(void *argument) {
	/* USER CODE BEGIN StartHandPeakControl */
	botArray = xMyArrayCreate(120u, 5u, 24u);
	if (botArray == NULL)
		Error_Handler();
	topArray = xMyArrayCreate(120u, 5u, 24u);
	if (topArray == NULL)
		Error_Handler();
//	palmArray = xMyArrayCreate(200u, 10u, 20u);
//	if (palmArray == NULL)
//		Error_Handler();

	bot1Array = xMyArrayCreate(40u, 5u, 8u);
	if (bot1Array == NULL)
		Error_Handler();
	bot2Array = xMyArrayCreate(40u, 5u, 8u);
	if (bot2Array == NULL)
		Error_Handler();
	bot3Array = xMyArrayCreate(40u, 5u, 8u);
	if (bot3Array == NULL)
		Error_Handler();

	top1Array = xMyArrayCreate(40u, 5u, 8u);
	if (top1Array == NULL)
		Error_Handler();
	top2Array = xMyArrayCreate(40u, 5u, 8u);
	if (top2Array == NULL)
		Error_Handler();
	top3Array = xMyArrayCreate(40u, 5u, 8u);
	if (top3Array == NULL)
		Error_Handler();

	countRun = 0u;

	HAL_GPIO_WritePin(LEDGreen_GPIO_Port, LEDGreen_Pin, GPIO_PIN_SET); //off led
	osEventFlagsClear(handEventHandle, FlagHandPeakControlEnable);
	/* Infinite loop */
	for (;;) {
		osEventFlagsWait(handEventHandle, FlagHandPeakControlEnable,
		osFlagsWaitAll | osFlagsNoClear, osWaitForever);

		osEventFlagsWait(handEventHandle, FlagHandMatrix, osFlagsWaitAll,
		osWaitForever);

		eMyArraySplit(matrix, botArray, 5u, 0u);
		eMyArraySplit(matrix, topArray, 0u, 0u);
////		eMyArraySplit(matrix, palmArray, 0u, 24u);
		eMyArraySplit(botArray, bot1Array, 0u, 0u);
		eMyArraySplit(botArray, bot2Array, 0u, 8u);
		eMyArraySplit(botArray, bot3Array, 0u, 16u);

		eMyArraySplit(topArray, top1Array, 0u, 0u);
		eMyArraySplit(topArray, top2Array, 0u, 8u);
		eMyArraySplit(topArray, top3Array, 0u, 16u);
//
//		maxBot = uMyArrayFindMax(botArray);
		maxBot1 = uMyArrayFindMax(bot1Array);
		maxBot2 = uMyArrayFindMax(bot2Array);
		maxBot3 = uMyArrayFindMax(bot3Array);

		maxTop1 = uMyArrayFindMax(top1Array);
		maxTop2 = uMyArrayFindMax(top2Array);
		maxTop3 = uMyArrayFindMax(top3Array);
////		maxTop = uMyArrayFindMax(topArray);
////		maxPalm = uMyArrayFindMax(palmArray);

		threshHoldValue = threshHold[servoLevel] * 2u;
		//
		if ((flag12 == 0)
				&& (((maxBot1 + maxBot2 + 100u > threshHoldValue)
						&& (maxBot1 > threshHoldValue * 0.3f)
						&& (maxBot2 > threshHoldValue * 0.3f))
						|| ((maxTop1 + maxTop2 + 100u > threshHoldValue)
								&& (maxTop1 > threshHoldValue * 0.3f)
								&& (maxTop2 > threshHoldValue * 0.3f)))) {
			flag12 = 1;
			osEventFlagsSet(stopServoEventHandle,
			FlagStopServoBot1 | FlagStopServoBot2);
		}
		if ((flag13 == 0)
				&& (((maxBot1 + maxBot3 + 100u > threshHoldValue)
						&& (maxBot1 > threshHoldValue * 0.3f)
						&& (maxBot3 > threshHoldValue * 0.3f))
						|| ((maxTop1 + maxTop3 + 100u > threshHoldValue)
								&& (maxTop1 > threshHoldValue * 0.3f)
								&& (maxTop3 > threshHoldValue * 0.3f)))) {
			flag13 = 1;
			osEventFlagsSet(stopServoEventHandle,
			FlagStopServoBot1 | FlagStopServoBot3);
		}

		if ((flag123 == 0) && (flag12 == 1) && (flag13 == 1)) {
			flag123 = 1;
//			if (countRun < 2)
//				++countRun;
//			else {
//				countRun = 0;
//				flag123 = 1;
//			}
			volatile uint16_t temp = threshHold[servoLevel];
			//finger 1
			if (maxBot1 > temp || maxTop1 > temp)
				vServoMove1(bot1, eServoUp1);
			else if (maxBot1 < temp && maxTop1 < temp)
				vServoMove1(bot1, eServoDown1);
			//finger 2
			if (maxBot2 > temp || maxTop2 > temp)
				vServoMove1(bot2, eServoUp1);
			else if (maxBot2 < temp && maxTop2 < temp)
				vServoMove1(bot2, eServoDown1);
			//finger 3
			if (maxBot3 > temp || maxTop3 > temp)
				vServoMove1(bot3, eServoUp1);
			else if (maxBot3 < temp && maxTop3 < temp)
				vServoMove1(bot3, eServoDown1);
		}

	}
	/* USER CODE END StartHandPeakControl */
}

void StartButtonHandler(void *argument) {
	/* USER CODE BEGIN StartButtonHandler */
	/* Infinite loop */
	for (;;) {
		osThreadFlagsWait(1u, osFlagsWaitAll, osWaitForever);

		switch (btn) {
		case Btn0_Pin: //velostat enable
			if ((osEventFlagsGet(velostatEventHandle) & FlagVelostatEnable)
					== FlagVelostatEnable) { //on
				osEventFlagsClear(velostatEventHandle, FlagVelostatEnable);
			} else { //off
				osEventFlagsSet(velostatEventHandle, FlagVelostatEnable);
			}
			break;
		case Btn1_Pin:
			if ((osEventFlagsGet(velostatEventHandle) & FlagVelostatEnable)
					== FlagVelostatEnable) { //sensor on
				if ((osEventFlagsGet(handEventHandle)
						& FlagHandPeakControlEnable)
						== FlagHandPeakControlEnable) { //mode on
					osEventFlagsClear(handEventHandle,
					FlagHandPeakControlEnable);
					HAL_GPIO_WritePin(LEDGreen_GPIO_Port, LEDGreen_Pin,
							GPIO_PIN_SET); //off
					vServoMove1(bot1, eServoUp);
					vServoMove1(bot2, eServoUp);
					vServoMove1(bot3, eServoUp);
					vServoMove1(top1, eServoUp);
					vServoMove1(top2, eServoUp);
					vServoMove1(top3, eServoUp);
				} else { //mode off
					osEventFlagsSet(handEventHandle,
					FlagHandPeakControlEnable);
					HAL_GPIO_WritePin(LEDGreen_GPIO_Port, LEDGreen_Pin,
							GPIO_PIN_RESET); //on
					flag12 = 0;
					flag13 = 0;
					flag123 = 0;
					countRun = 0;
					vServoMove1(bot1, eServoDown);
					vServoMove1(bot2, eServoDown);
					vServoMove1(bot3, eServoDown);
//					vServoMove1(top1, eServoDown);
//					vServoMove1(top2, eServoDown);
//					vServoMove1(top3, eServoDown);
				}
			}
			break;
		}

		if (isPress) {
			isPress = 0u;
			osTimerStart(myTimer01Handle, 1000u);
		}
	}
	/* USER CODE END StartButtonHandler */
}

void StartHandStopServo(void *argument) {
	/* USER CODE BEGIN StartHandStopServo */
	/* Infinite loop */
	for (;;) {
		osEventFlagsWait(stopServoEventHandle,
				FlagStopServoBot1 | FlagStopServoBot2 | FlagStopServoBot3
						| FlagStopServoTop1 | FlagStopServoTop2
						| FlagStopServoTop3, osFlagsWaitAny | osFlagsNoClear,
				osWaitForever);

		flag = osEventFlagsGet(stopServoEventHandle);
		if ((flag & FlagStopServoBot1) == FlagStopServoBot1) {
			osEventFlagsClear(stopServoEventHandle, FlagStopServoBot1);
			bot1->command = eServoStop;
			osEventFlagsClear(handEventHandle, FlagHandBot1);
		}

		if ((flag & FlagStopServoBot2) == FlagStopServoBot2) {
			osEventFlagsClear(stopServoEventHandle, FlagStopServoBot2);
			bot2->command = eServoStop;
			osEventFlagsClear(handEventHandle, FlagHandBot2);
		}

		if ((flag & FlagStopServoBot3) == FlagStopServoBot3) {
			osEventFlagsClear(stopServoEventHandle, FlagStopServoBot3);
			bot3->command = eServoStop;
			osEventFlagsClear(handEventHandle, FlagHandBot3);
		}

		if ((flag & FlagStopServoTop1) == FlagStopServoTop1) {
			osEventFlagsClear(stopServoEventHandle, FlagStopServoTop1);
			top1->command = eServoStop;
			osEventFlagsClear(handEventHandle, FlagHandTop1);
		}

		if ((flag & FlagStopServoTop2) == FlagStopServoTop2) {
			osEventFlagsClear(stopServoEventHandle, FlagStopServoTop2);
			top2->command = eServoStop;
			osEventFlagsClear(handEventHandle, FlagHandTop2);
		}

		if ((flag & FlagStopServoTop3) == FlagStopServoTop3) {
			osEventFlagsClear(stopServoEventHandle, FlagStopServoTop3);
			top3->command = eServoStop;
			osEventFlagsClear(handEventHandle, FlagHandTop3);
		}

	}
	/* USER CODE END StartHandStopServo */
}

/* Callback01 function */
void Callback01(void *argument) {
	/* USER CODE BEGIN Callback01 */
	flagTimer = 1u;
	/* USER CODE END Callback01 */
}

void HAL_TIM_PeriodElapsedCallback(TIM_HandleTypeDef *htim) {
	if (htim->Instance == TIM1) {
		HAL_IncTick();
	}
}

void Error_Handler(void) {
	__disable_irq();
	while (1) {
	}
}

/************************ (C) COPYRIGHT STMicroelectronics *****END OF FILE****/

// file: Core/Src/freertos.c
/* USER CODE BEGIN Header */
/**
  ******************************************************************************
  * File Name          : freertos.c
  * Description        : Code for freertos applications
  ******************************************************************************
  * @attention
  *
  * <h2><center>&copy; Copyright (c) 2022 STMicroelectronics.
  * All rights reserved.</center></h2>
  *
  * This software component is licensed by ST under Ultimate Liberty license
  * SLA0044, the "License"; You may not use this file except in compliance with
  * the License. You may obtain a copy of the License at:
  *                             www.st.com/SLA0044
  *
  ******************************************************************************
  */
/* USER CODE END Header */

#include "FreeRTOS.h"
#include "task.h"
#include "main.h"

/* Hook prototypes */
void vApplicationMallocFailedHook(void);

/* USER CODE BEGIN 5 */
void vApplicationMallocFailedHook(void)
{
	NVIC_SystemReset();
   /* vApplicationMallocFailedHook() will only be called if
   configUSE_MALLOC_FAILED_HOOK is set to 1 in FreeRTOSConfig.h. It is a hook
   function that will get called if a call to pvPortMalloc() fails.
   pvPortMalloc() is called internally by the kernel whenever a task, queue,
   timer or semaphore is created. It is also called by various parts of the
   demo application. If heap_1.c or heap_2.c are used, then the size of the
   heap available to pvPortMalloc() is defined by configTOTAL_HEAP_SIZE in
   FreeRTOSConfig.h, and the xPortGetFreeHeapSize() API function can be used
   to query the size of free heap space that remains (although it does not
   provide information on how the remaining heap might be fragmented). */

}
/* USER CODE END 5 */

/************************ (C) COPYRIGHT STMicroelectronics *****END OF FILE****/
